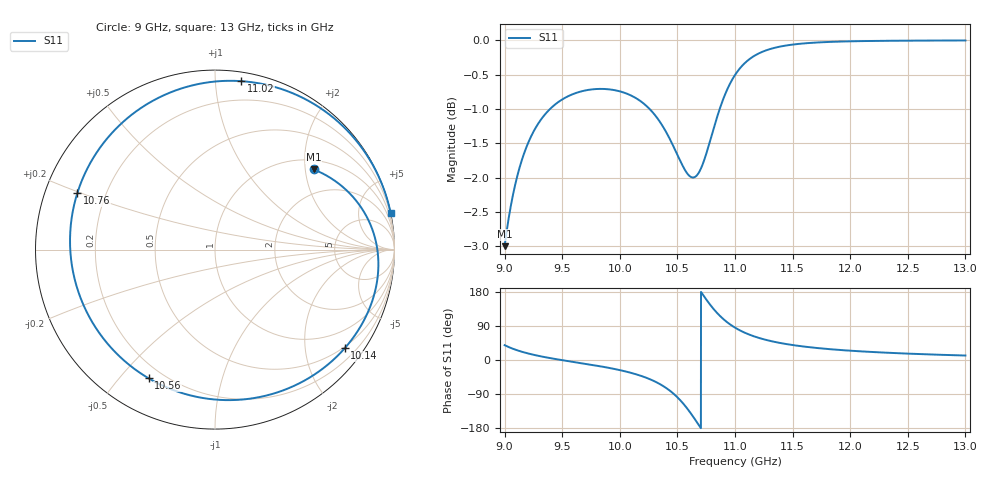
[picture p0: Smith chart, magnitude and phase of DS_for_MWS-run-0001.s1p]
! TOUCHSTONE file generated by CST DESIGN STUDIO
! Date and time: Tue Feb  4 16:44:38 2025
! Project name: C:\Work\MatlabApps\UnitCellOptimizationMatlab\CST\unitcell.cst
! Tree item: Tasks\Sweep1\SPara1\S-Parameters
! Header version: 2024
! Port assignment regex: !\s*Touchstone port\s*([0-9]+)\s*=\s*(CST MWS port|CST DES external port|CST DES block port)\s*(.+)\s* \(\"(.*)\"\)(\s*mode\s*([0-9]+))?.*
! Touchstone port assignment:
! Touchstone port 1 = CST DES external port 1 ("")
# GHz S MA R 50
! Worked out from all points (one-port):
!   4001 points, 9 GHz to 13 GHz, reference 50 ohm
!   lowest |S11| = -3.0 dB at 9 GHz (marker M1), VSWR 5.85, Z = 61.8 + j111 ohm
!   |S11| at or under -10 dB: nowhere
!   S11 on the Smith chart (normalised r, x): 9 GHz: 1.24, +2.22; 10.14 GHz: 0.46, -2.90; 10.56 GHz: 0.15, -0.60; 10.76 GHz: 0.10, +0.19; 11.02 GHz: 0.06, +1.16; 13 GHz: 0.01, +9.69
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9  0.7079 39.2
9.104  0.7927 26.2
9.208  0.8433 16.9
9.5  0.9056 -0.4
9.769  0.9212 -13.4
10  0.918 -26.7
10.136  0.908 -37.2
10.244  0.8937 -48.6
10.336  0.8752 -61.6
10.418  0.8525 -77.2
10.5  0.8252 -98.4
10.557  0.8068 -117.3
10.61  0.7958 -138.1
10.666  0.7968 -162.7
10.71  0.8085 177.4
10.755  0.829 157.8
10.813  0.8615 135.0
10.868  0.8916 116.8
10.929  0.9195 100.4
11  0.9435 85.4
11.024  0.9498 81.2
11.117  0.9677 67.9
11.223  0.9798 56.9
11.348  0.9877 47.6
11.5  0.9929 39.5
12  0.9984 24.6
12.5  0.9995 16.8
13  0.9998 11.8
